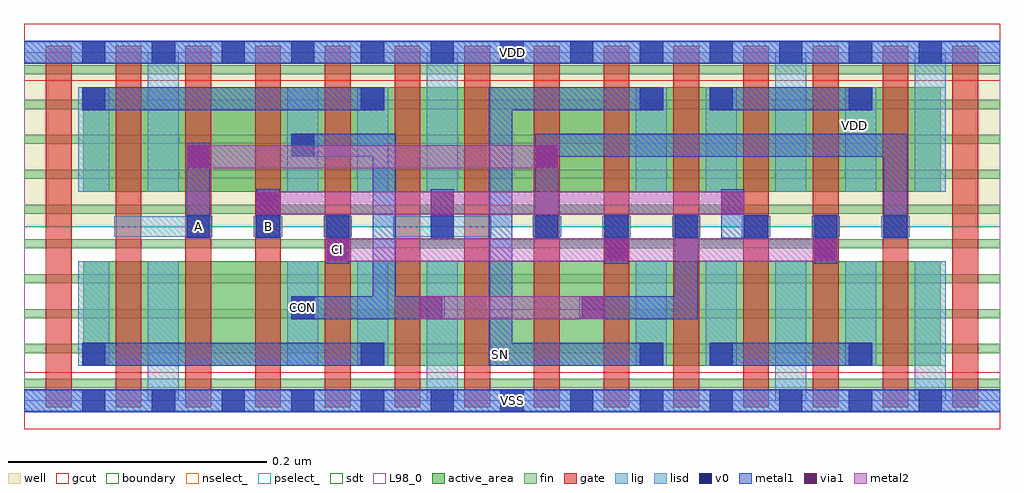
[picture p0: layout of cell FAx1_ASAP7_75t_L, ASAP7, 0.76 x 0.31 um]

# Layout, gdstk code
import gdstk
lib = gdstk.Library(unit=1e-6, precision=2.5e-10)
def R(c, l, rs):  # rectangles x0, y0, x1, y1
    for r in rs: c.add(gdstk.rectangle(r[:2], r[2:], *l))
def A(c, l, x, y, w, h, nx, ny, dx, dy):  # array of equal rectangles
    R(c, l, [(x+i*dx, y+j*dy, x+i*dx+w, y+j*dy+h) for i in range(nx) for j in range(ny)])
def P(c, l, *ps):  # polygons
    for p in ps: c.add(gdstk.Polygon(p, *l))
well = (1, 0)
fin = (2, 0)
gate = (7, 0)
gcut = (10, 0)
active_area = (11, 0)
nselect_ = (12, 0)
pselect_ = (13, 0)
lig = (16, 0)
lisd = (17, 0)
v0 = (18, 0)
metal1 = (19, 0)
metal2 = (20, 0)
via1 = (21, 0)
sdt = (88, 0)
L98_0 = (98, 0)
boundary = (100, 0)

fax1_asap7_75t_l = lib.new_cell('FAx1_ASAP7_75t_L')
R(fax1_asap7_75t_l, well, [(0,0.135,0.756,0.27)])
A(fax1_asap7_75t_l, fin, 0, 0.01, 0.756, 0.007, 1, 10, 0, 0.027)
A(fax1_asap7_75t_l, gate, 0.017, -0.005, 0.02, 0.28, 14, 1, 0.054, 0)
R(fax1_asap7_75t_l, gcut, [(0,-0.022,0.756,0.022), (0,0.248,0.756,0.292)])
R(fax1_asap7_75t_l, active_area, [(0.046,0.027,0.71,0.108), (0.046,0.162,0.71,0.243)])
R(fax1_asap7_75t_l, nselect_, [(0,0,0.756,0.135)])
R(fax1_asap7_75t_l, pselect_, [(0,0.135,0.756,0.27)])
A(fax1_asap7_75t_l, lig, 0.394, 0.127, 0.022, 0.016, 6, 1, 0.054, 0)
R(fax1_asap7_75t_l, lig, [(0,-0.008,0.756,0.008), (0.07,0.127,0.146,0.143), (0.178,0.127,0.2,0.143), (0.232,0.127,0.254,0.143), (0.286,0.127,0.362,0.143), (0,0.262,0.756,0.278)])
R(fax1_asap7_75t_l, lisd, [(0.096,0,0.12,0.108), (0.312,0,0.336,0.108), (0.582,0,0.606,0.108), (0.69,0,0.714,0.108), (0.042,0.027,0.066,0.108), (0.204,0.027,0.228,0.108), (0.258,0.027,0.282,0.108), (0.474,0.027,0.498,0.108), (0.528,0.027,0.552,0.108), (0.636,0.027,0.66,0.108), (0.042,0.162,0.066,0.243), (0.096,0.162,0.12,0.27), (0.204,0.162,0.228,0.243), (0.258,0.162,0.282,0.243), (0.312,0.162,0.336,0.27), (0.474,0.162,0.498,0.243), (0.528,0.162,0.552,0.243), (0.582,0.162,0.606,0.27), (0.636,0.162,0.66,0.243), (0.69,0.162,0.714,0.27)])
A(fax1_asap7_75t_l, v0, 0.045, -0.009, 0.018, 0.018, 13, 2, 0.054, 0.27)
A(fax1_asap7_75t_l, v0, 0.045, 0.027, 0.018, 0.018, 3, 2, 0.216, 0.198)
A(fax1_asap7_75t_l, v0, 0.126, 0.126, 0.018, 0.018, 3, 1, 0.054, 0)
A(fax1_asap7_75t_l, v0, 0.396, 0.126, 0.018, 0.018, 6, 1, 0.054, 0)
R(fax1_asap7_75t_l, v0, [(0.531,0.027,0.549,0.045), (0.639,0.027,0.657,0.045), (0.207,0.063,0.225,0.081), (0.315,0.126,0.333,0.144), (0.207,0.189,0.225,0.207), (0.531,0.225,0.549,0.243), (0.639,0.225,0.657,0.243)])
R(fax1_asap7_75t_l, metal1, [(0,-0.009,0.756,0.009), (0.045,0.027,0.279,0.045), (0.531,0.027,0.657,0.045), (0.234,0.106,0.252,0.144), (0.45,0.106,0.468,0.144), (0.612,0.106,0.63,0.144), (0.126,0.126,0.144,0.2), (0.18,0.126,0.198,0.164), (0.315,0.126,0.333,0.164), (0.396,0.126,0.414,0.207), (0.045,0.225,0.279,0.243), (0.531,0.225,0.657,0.243), (0,0.261,0.756,0.279)])
P(fax1_asap7_75t_l, metal1, [(0.207,0.063),(0.207,0.081),(0.27,0.081),(0.27,0.189),(0.207,0.189),(0.207,0.207),(0.288,0.207),(0.288,0.081),(0.326,0.081),(0.326,0.063)],
  [(0.43,0.063),(0.43,0.081),(0.504,0.081),(0.504,0.144),(0.522,0.144),(0.522,0.063)],
  [(0.54,0.126),(0.54,0.164),(0.558,0.164),(0.558,0.144),(0.576,0.144),(0.576,0.126)],
  [(0.666,0.126),(0.666,0.189),(0.396,0.189),(0.396,0.207),(0.684,0.207),(0.684,0.126)],
  [(0.36,0.027),(0.36,0.243),(0.495,0.243),(0.495,0.225),(0.378,0.225),(0.378,0.045),(0.495,0.045),(0.495,0.027)])
R(fax1_asap7_75t_l, metal2, [(0.306,0.063,0.45,0.081), (0.234,0.108,0.63,0.126), (0.18,0.144,0.558,0.162), (0.126,0.18,0.414,0.198)])
R(fax1_asap7_75t_l, via1, [(0.306,0.063,0.324,0.081), (0.432,0.063,0.45,0.081), (0.234,0.108,0.252,0.126), (0.45,0.108,0.468,0.126), (0.612,0.108,0.63,0.126), (0.18,0.144,0.198,0.162), (0.315,0.144,0.333,0.162), (0.54,0.144,0.558,0.162), (0.126,0.18,0.144,0.198), (0.396,0.18,0.414,0.198)])
A(fax1_asap7_75t_l, sdt, 0.204, 0.027, 0.024, 0.081, 3, 2, 0.054, 0.135)
A(fax1_asap7_75t_l, sdt, 0.474, 0.027, 0.024, 0.081, 5, 2, 0.054, 0.135)
R(fax1_asap7_75t_l, sdt, [(0.042,0.027,0.066,0.108), (0.096,0.027,0.12,0.108), (0.042,0.162,0.066,0.243), (0.096,0.162,0.12,0.243)])
R(fax1_asap7_75t_l, L98_0, [(0,0,0.756,0.27)])
R(fax1_asap7_75t_l, boundary, [(0,0,0.756,0.27)])
fax1_asap7_75t_l.add(gdstk.Label('SN', (0.369,0.036), layer=19, texttype=251))
fax1_asap7_75t_l.add(gdstk.Label('CI', (0.243,0.117), layer=19, texttype=251))
fax1_asap7_75t_l.add(gdstk.Label('CON', (0.216,0.072), layer=19, texttype=251))
fax1_asap7_75t_l.add(gdstk.Label('B', (0.189,0.135), layer=19, texttype=251))
fax1_asap7_75t_l.add(gdstk.Label('A', (0.135,0.135), layer=19, texttype=251))
fax1_asap7_75t_l.add(gdstk.Label('VSS', (0.378,0), layer=19, texttype=251))
fax1_asap7_75t_l.add(gdstk.Label('VDD', (0.378,0.27), layer=19, texttype=251))
fax1_asap7_75t_l.add(gdstk.Label('VDD', (0.643,0.213), layer=1, texttype=251))
fax1_asap7_75t_l.add(gdstk.Label('VSS', (0.869,0.213), layer=3, texttype=251))

lib.write_gds('FAx1_ASAP7_75t_L.gds')
